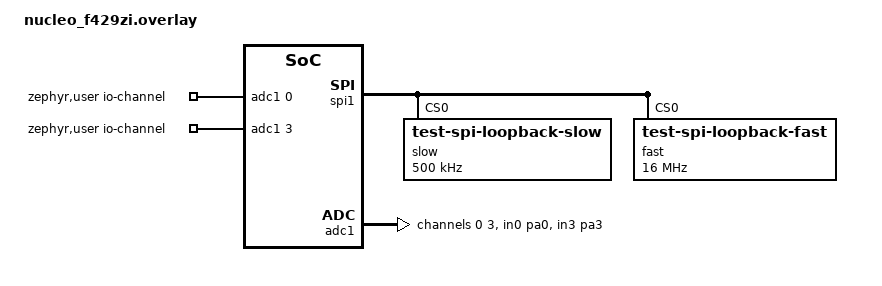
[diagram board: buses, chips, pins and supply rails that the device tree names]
/*
 * Copyright (c) 2022 Kumar Gala <galak@kernel.org>
 *
 * SPDX-License-Identifier: Apache-2.0
 */

tst_dma0: &dma2 {};

&spi1 {
	dmas = <&dma2 5 3 0x28440 0x03>,
	       <&dma2 2 3 0x28480 0x03>;
	dma-names = "tx", "rx";
};

&spi1 {
	status = "okay";
	slow@0 {
		compatible = "test-spi-loopback-slow";
		reg = <0>;
		spi-max-frequency = <500000>;
	};
	fast@0 {
		compatible = "test-spi-loopback-fast";
		reg = <0>;
		spi-max-frequency = <16000000>;
	};
};

&dma2 {
	status = "okay";
};

/ {
	zephyr,user {
		io-channels = <&adc1 0>, <&adc1 3>;
	};
};

&adc1 {
	dmas = <&dma2 0 0 (STM32_DMA_PERIPH_RX | STM32_DMA_MEM_16BITS |
			   STM32_DMA_PERIPH_16BITS) STM32_DMA_FIFO_FULL>;
	dma-names = "dma";
	pinctrl-0 = <&adc1_in0_pa0 &adc1_in3_pa3>;
	#address-cells = <1>;
	#size-cells = <0>;
	channel@0 {
		reg = <0>;
		zephyr,gain = "ADC_GAIN_1";
		zephyr,reference = "ADC_REF_INTERNAL";
		zephyr,acquisition-time = <ADC_ACQ_TIME_MAX>;
		zephyr,resolution = <12>;
	};
	channel@3 {
		reg = <3>;
		zephyr,gain = "ADC_GAIN_1";
		zephyr,reference = "ADC_REF_INTERNAL";
		zephyr,acquisition-time = <ADC_ACQ_TIME_MAX>;
		zephyr,resolution = <12>;
	};
};

dut: &usart6 {
	dmas = <&dma2 7 5 0x28440 0x03>,
	       <&dma2 2 5 0x28480 0x03>;
	dma-names = "tx", "rx";
};
